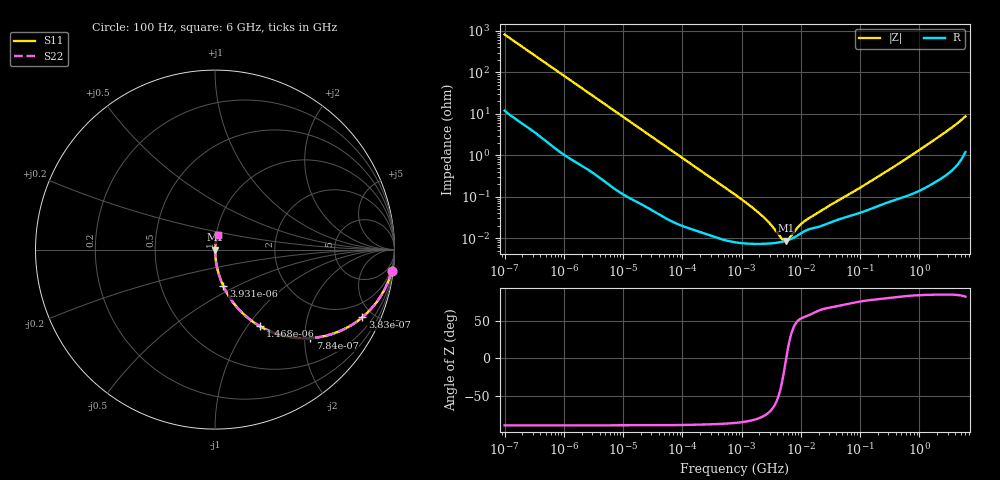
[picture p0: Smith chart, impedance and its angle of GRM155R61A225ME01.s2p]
!Murata Part Number: GRM155R61A225ME01
!These Parameters are Measured in Series Mode Connection
!Data Generated on Mar 30, 2021
!  o--ll--o
!Port1  Port2
!  o------o
!Operation Temp=25[degC], DC Bias Voltage=0[V]
!Freq. Start=100[Hz] Stop=6[GHz] 401[Steps]
# Hz S RI R 50
!Freq.(Hz) S11(Real) S11(Imag) S21(Real) S21(Imag) S12(Real) S12(Imag) S22(Real) S22(Imag)
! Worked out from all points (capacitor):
!   401 points, 100 Hz to 6 GHz, reference 50 ohm
!   read as one part in series: C = 1.93 uF near 109 Hz
!   lowest |Z| = 8.64 mohm at 5.555 MHz (marker M1)
!   series resonance near 5.665 MHz, so ESL is about 410 pH
!   S11 on the Smith chart (normalised r, x): 100 Hz: 1, -16; 383 Hz: 1.06, -4.34; 784 Hz: 1.03, -2.13; 1.468 kHz: 1.01, -1.14; 3.931 kHz: 1.01, -0.43; 6 GHz: 1.02, +0.17
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100  0.9838 -0.1194  0.0162 0.1194  0.0162 0.1194  0.9838 -0.1194
214  0.9343 -0.2409  0.0657 0.2409  0.0657 0.2409  0.9343 -0.2409
383  0.8216 -0.3761  0.1784 0.3761  0.1784 0.3761  0.8216 -0.3761
524  0.7143 -0.4453  0.2857 0.4453  0.2857 0.4453  0.7143 -0.4453
784  0.5316 -0.4928  0.4683 0.4928  0.4683 0.4928  0.5316 -0.4928
1073  0.3803 -0.4793  0.6197 0.4793  0.6197 0.4793  0.3803 -0.4793
1468  0.2493 -0.4263  0.7507 0.4263  0.7507 0.4263  0.2493 -0.4263
2008  0.1528 -0.3532  0.8472 0.3532  0.8472 0.3532  0.1528 -0.3532
3931  0.0469 -0.2048  0.9531 0.2048  0.9531 0.2048  0.0469 -0.2048
10527  0.0076 -0.0804  0.9924 0.0804  0.9924 0.0804  0.0076 -0.0804
40335  0.000834 -0.0214  0.9992 0.0214  0.9992 0.0214  0.000834 -0.0214
774597  8.09e-05 -0.00113  0.9999 0.00113  0.9999 0.00113  8.09e-05 -0.00113
2268635  7.31e-05 -0.00033  0.9999 0.00033  0.9999 0.00033  7.31e-05 -0.00033
3103719  7.49e-05 -0.000201  0.9999 0.000201  0.9999 0.000201  7.49e-05 -0.000201
4643984  8.1e-05 -6.25e-05  0.9999 6.25e-05  0.9999 6.25e-05  8.1e-05 -6.25e-05
5554849  8.62e-05 -6e-06  0.9999 6e-06  0.9999 6e-06  8.62e-05 -6e-06
6644369  9.42e-05 4.97e-05  0.9999 -4.97e-05  0.9999 -4.97e-05  9.42e-05 4.97e-05
9941735  0.00013 0.000171  0.9999 -0.000171  0.9999 -0.000171  0.00013 0.000171
1.555665e7  0.000173 0.000291  0.9998 -0.000291  0.9998 -0.000291  0.000173 0.000291
3.124326e8  0.000772 0.00445  0.9992 -0.00445  0.9992 -0.00445  0.000772 0.00445
2.142435e9  0.0033 0.0278  0.9967 -0.0278  0.9967 -0.0278  0.0033 0.0278
6e9  0.0189 0.0834  0.9811 -0.0834  0.9811 -0.0834  0.0189 0.0834
